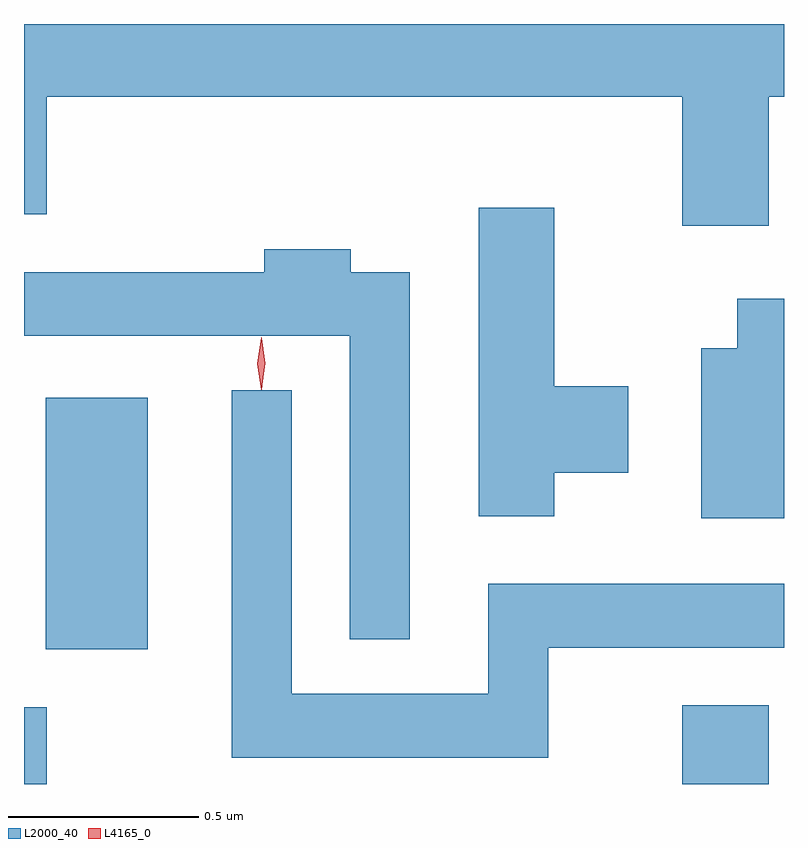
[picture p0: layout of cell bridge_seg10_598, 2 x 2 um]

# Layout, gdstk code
import gdstk
lib = gdstk.Library(unit=1e-6, precision=1e-09)
def R(c, l, rs):  # rectangles x0, y0, x1, y1
    for r in rs: c.add(gdstk.rectangle(r[:2], r[2:], *l))
def P(c, l, *ps):  # polygons
    for p in ps: c.add(gdstk.Polygon(p, *l))
L2000_40 = (2000, 40)
L4165_0 = (4165, 0)

bridge_seg10_598 = lib.new_cell('bridge_seg10_598')
R(bridge_seg10_598, L2000_40, [(776.499,2172.047,776.559,2172.249), (778.231,2172.047,778.459,2172.254), (776.556,2172.401,776.824,2173.064)])
P(bridge_seg10_598, L2000_40, [(778.459,2173.856),(778.499,2173.856),(778.499,2174.047),(776.499,2174.047),(776.499,2173.546),(776.559,2173.546),(776.559,2173.856),(778.231,2173.856),(778.231,2173.516),(778.459,2173.516)],
  [(777.894,2172.866),(778.089,2172.866),(778.089,2173.094),(777.894,2173.094),(777.894,2173.564),(777.696,2173.564),(777.696,2172.751),(777.894,2172.751)],
  [(777.514,2173.394),(777.359,2173.394),(777.359,2173.454),(777.131,2173.454),(777.131,2173.394),(776.499,2173.394),(776.499,2173.226),(777.356,2173.226),(777.356,2172.428),(777.514,2172.428)],
  [(778.499,2173.324),(778.376,2173.324),(778.376,2173.194),(778.281,2173.194),(778.281,2172.746),(778.499,2172.746)],
  [(777.879,2172.406),(778.499,2172.406),(778.499,2172.574),(777.721,2172.574),(777.721,2172.284),(777.204,2172.284),(777.204,2173.083),(777.046,2173.083),(777.046,2172.116),(777.879,2172.116)])
P(bridge_seg10_598, L4165_0, [(777.123,2173.084),(777.123,2173.084),(777.113,2173.153),(777.123,2173.222),(777.123,2173.223),(777.124,2173.222),(777.133,2173.153),(777.124,2173.084)],
  [(777.124,2173.087),(777.124,2173.088),(777.114,2173.154),(777.124,2173.22),(777.124,2173.22),(777.124,2173.22),(777.134,2173.154),(777.124,2173.088)])

lib.write_gds('bridge_seg10_598.gds')
